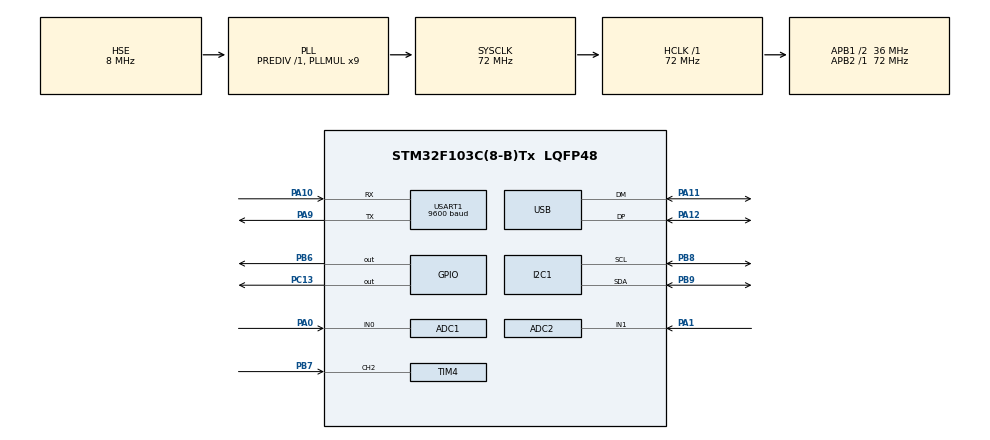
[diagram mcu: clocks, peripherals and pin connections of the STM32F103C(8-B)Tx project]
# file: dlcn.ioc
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ADC1.Channel-0\#ChannelRegularConversion=ADC_CHANNEL_0
ADC1.ContinuousConvMode=ENABLE
ADC1.NbrOfConversionFlag=1
ADC1.Rank-0\#ChannelRegularConversion=1
ADC1.SamplingTime-0\#ChannelRegularConversion=ADC_SAMPLETIME_1CYCLE_5
ADC1.master=1
ADC2.Channel-0\#ChannelRegularConversion=ADC_CHANNEL_1
ADC2.ContinuousConvMode=ENABLE
ADC2.NbrOfConversionFlag=1
ADC2.Rank-0\#ChannelRegularConversion=1
ADC2.SamplingTime-0\#ChannelRegularConversion=ADC_SAMPLETIME_1CYCLE_5
Mcu.Family=STM32F1
Mcu.Name=STM32F103C(8-B)Tx
Mcu.Package=LQFP48
NVIC.PriorityGroup=NVIC_PRIORITYGROUP_4
NVIC.TIM2_IRQn=true\:15\:0\:false\:false\:true\:true\:true\:true
NVIC.USB_LP_CAN1_RX0_IRQn=true\:0\:0\:false\:false\:true\:false\:true\:true
PA0-WKUP.Signal=ADCx_IN0
PA1.Signal=ADCx_IN1
PA10.Mode=Asynchronous
PA10.Signal=USART1_RX
PA11.Mode=Device
PA11.Signal=USB_DM
PA12.Mode=Device
PA12.Signal=USB_DP
PA13.Mode=Serial_Wire
PA13.Signal=SYS_JTMS-SWDIO
PA14.Mode=Serial_Wire
PA14.Signal=SYS_JTCK-SWCLK
PA9.Mode=Asynchronous
PA9.Signal=USART1_TX
PB6.Signal=GPIO_Output
PB7.Signal=S_TIM4_CH2
PB8.Mode=I2C
PB8.Signal=I2C1_SCL
PB9.Mode=I2C
PB9.Signal=I2C1_SDA
PC13-TAMPER-RTC.Signal=GPIO_Output
PD0-OSC_IN.Mode=HSE-External-Oscillator
PD0-OSC_IN.Signal=RCC_OSC_IN
PD1-OSC_OUT.Mode=HSE-External-Oscillator
PD1-OSC_OUT.Signal=RCC_OSC_OUT
ProjectManager.HeapSize=0x200
ProjectManager.StackSize=0x400
ProjectManager.TargetToolchain=STM32CubeIDE
RCC.ADCPresc=RCC_ADCPCLK2_DIV6
RCC.AHBFreq_Value=72000000
RCC.APB1CLKDivider=RCC_HCLK_DIV2
RCC.APB1Freq_Value=36000000
RCC.APB1TimFreq_Value=72000000
RCC.APB2Freq_Value=72000000
RCC.APB2TimFreq_Value=72000000
RCC.HCLKFreq_Value=72000000
RCC.PLLMUL=RCC_PLL_MUL9
RCC.PLLSourceVirtual=RCC_PLLSOURCE_HSE
RCC.SYSCLKFreq_VALUE=72000000
RCC.SYSCLKSource=RCC_SYSCLKSOURCE_PLLCLK
RCC.USBFreq_Value=48000000
RCC.USBPrescaler=RCC_USBCLKSOURCE_PLL_DIV1_5
SH.ADCx_IN0.0=ADC1_IN0,IN0
SH.ADCx_IN1.0=ADC2_IN1,IN1
SH.S_TIM4_CH2.0=TIM4_CH2,Input_Capture2_from_TI2
TIM2.AutoReloadPreload=TIM_AUTORELOAD_PRELOAD_ENABLE
TIM2.Period=99
TIM2.Prescaler=7200-1
TIM4.Channel-Input_Capture2_from_TI2=TIM_CHANNEL_2
USART1.BaudRate=9600
USART1.VirtualMode=VM_ASYNC
USB_DEVICE.APP_RX_DATA_SIZE=64
USB_DEVICE.APP_TX_DATA_SIZE=64
USB_DEVICE.CLASS_NAME_FS=CDC
USB_DEVICE.VirtualMode=Cdc
USB_DEVICE.VirtualModeFS=Cdc_FS
VP_TIM2_VS_ClockSourceINT.Mode=Internal
VP_TIM4_VS_ClockSourceINT.Mode=Internal
VP_USB_DEVICE_VS_USB_DEVICE_CDC_FS.Mode=CDC_FS
board=custom

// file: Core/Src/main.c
/* USER CODE BEGIN Header */
/**
  ******************************************************************************
  * @file           : main.c
  * @brief          : Main program body
  ******************************************************************************
  * @attention
  *
  * Copyright (c) 2026 STMicroelectronics.
  * All rights reserved.
  *
  * This software is licensed under terms that can be found in the LICENSE file
  * in the root directory of this software component.
  * If no LICENSE file comes with this software, it is provided AS-IS.
  *
  ******************************************************************************
  */
/* USER CODE END Header */
#include "main.h"
#include "usb_device.h"

/* USER CODE BEGIN Includes */
#include "usbd_cdc_if.h"
#include <stdio.h>
#include <string.h>
#include <math.h>
/* USER CODE END Includes */

ADC_HandleTypeDef hadc1;
ADC_HandleTypeDef hadc2;

I2C_HandleTypeDef hi2c1;

TIM_HandleTypeDef htim2;
TIM_HandleTypeDef htim4;

UART_HandleTypeDef huart1;

/* USER CODE BEGIN PV */
static volatile uint8_t flag_10ms = 0;
static volatile uint8_t flag_50ms = 0;
static volatile uint8_t flag_100ms = 0;
static volatile uint16_t timer_counter = 0;
/* =========================
   SENSOR DATA STRUCT
   ========================= */
typedef struct
{
    float thermistor_degC;
    float potentiometer_deg;
    float ultrasonic_cm;
    float laser_mm;
} SensorData_t;

static SensorData_t sensor_data;

/* =========================
   ULTRASONIC INPUT CAPTURE
   ========================= */
static volatile uint32_t ultrasonic_rise_tick = 0;
static volatile uint32_t ultrasonic_fall_tick = 0;
static volatile uint32_t ultrasonic_echo_us = 0;
static volatile uint8_t ultrasonic_capture_state = 0;
static volatile uint8_t ultrasonic_data_ready = 0;

/* =========================
   SAMPLE ACCUMULATOR
   Lay mau roi cong don de tinh trung binh
   ========================= */
static float thermistor_sum = 0.0f;
static float potentiometer_sum = 0.0f;
static float laser_sum = 0.0f;
static float ultrasonic_sum = 0.0f;

static uint8_t thermistor_sample_count = 0;
static uint8_t potentiometer_sample_count = 0;
static uint8_t laser_sample_count = 0;
static uint8_t ultrasonic_sample_count = 0;

/* USER CODE END PV */

void SystemClock_Config(void);
static void MX_GPIO_Init(void);
static void MX_ADC1_Init(void);
static void MX_ADC2_Init(void);
static void MX_I2C1_Init(void);
static void MX_TIM2_Init(void);
static void MX_TIM4_Init(void);
static void MX_USART1_UART_Init(void);

/* USER CODE BEGIN 0 */
static uint32_t last_send_time = 0;

// Giả lập data
static int thermistor_x10 = 253;    // 25.3
static int laser_x10 = 105;         // 10.5
static int potentiometer = 45;      // 45 %
static int ultrasonic = 120;        // 120 cm

void Update_Fake_Sensor_Data(void)
{
    thermistor_x10 += 1;     // tăng 0.1
    laser_x10 += 2;          // tăng 0.2
    potentiometer += 1;
    ultrasonic += 1;

    if (thermistor_x10 > 350) thermistor_x10 = 253;
    if (laser_x10 > 300) laser_x10 = 105;
    if (potentiometer > 100) potentiometer = 0;
    if (ultrasonic > 200) ultrasonic = 120;
}

void Send_Sensor_Data_USB(void)
{
    char tx_buffer[128];

    int len = snprintf(tx_buffer, sizeof(tx_buffer),
                       "THERMISTOR:%d.%d;LASER:%d.%d;POTENTIOMETER:%d;ULTRASONIC:%d\r\n",
                       thermistor_x10 / 10,
                       thermistor_x10 % 10,
                       laser_x10 / 10,
                       laser_x10 % 10,
                       potentiometer,
                       ultrasonic);

    if (len > 0)
    {
        CDC_Transmit_FS((uint8_t*)tx_buffer, len);
    }
}

/* =========================
   HAM GIOI HAN GIA TRI
   ========================= */
static float Clamp_Float(float value, float min, float max)
{
    if (value < min) return min;
    if (value > max) return max;
    return value;
}

/* =========================
   DOC ADC DUNG CHUNG
   ========================= */
uint16_t Read_ADC_Value(ADC_HandleTypeDef *hadc)
{
    uint16_t adc_value = 0;

    HAL_ADC_Start(hadc);

    if (HAL_ADC_PollForConversion(hadc, 10) == HAL_OK)
    {
        adc_value = HAL_ADC_GetValue(hadc);
    }

    HAL_ADC_Stop(hadc);

    return adc_value;
}

/* =========================
   1. DOC THERMISTOR
   ADC1 PA0 -> Nhiet do
   ========================= */
float Read_Thermistor_degC(void)
{
    uint16_t adc_raw = Read_ADC_Value(&hadc1);

    const float Vref = 3.3f;
    const float R_fixed = 10000.0f;   // dien tro co dinh 10k
    const float R0 = 10000.0f;        // NTC 10k tai 25 do C
    const float T0 = 298.15f;         // 25 do C = 298.15 K
    const float BETA = 3950.0f;       // he so beta, sau nay sua theo datasheet

    float Vout = adc_raw * Vref / 4095.0f;

    if (Vout <= 0.01f || Vout >= (Vref - 0.01f))
    {
        return -999.0f;
    }

    /*
       Mach gia dinh:
       3.3V --- R_fixed --- ADC --- NTC --- GND

       R_ntc = R_fixed * Vout / (Vref - Vout)
    */
    float R_ntc = R_fixed * Vout / (Vref - Vout);

    /*
       Cong thuc Beta:
       T(K) = 1 / [1/T0 + (1/BETA)*ln(R/R0)]
       T(C) = T(K) - 273.15
    */
    float T_kelvin = 1.0f / ((1.0f / T0) + (1.0f / BETA) * logf(R_ntc / R0));
    float T_celsius = T_kelvin - 273.15f;

    return T_celsius;
}

/* =========================
   2. DOC POTENTIOMETER
   ADC2 PA1 -> Goc 0-300 do
   ========================= */
float Read_Potentiometer_deg(void)
{
    uint16_t adc_raw = Read_ADC_Value(&hadc2);

    const float Vref = 3.3f;

    /*
       Neu mach scale cua ban la 0.1V den 3.1V
       tuong ung goc 0 den 300 do
    */
    const float Vmin = 0.1f;
    const float Vmax = 3.1f;

    float Vout = adc_raw * Vref / 4095.0f;

    Vout = Clamp_Float(Vout, Vmin, Vmax);

    float angle_deg = (Vout - Vmin) * 300.0f / (Vmax - Vmin);

    return angle_deg;
}

/* =========================
   DELAY US DUNG TIM4
   Luu y: TIM4 nen cau hinh Prescaler = 72 - 1 de 1 tick = 1us
   ========================= */
void Delay_us_TIM4(uint16_t us)
{
    __HAL_TIM_SET_COUNTER(&htim4, 0);

    while (__HAL_TIM_GET_COUNTER(&htim4) < us)
    {
        // wait
    }
}

/* =========================
   PHAT XUNG TRIG CHO HC-SR04
   TRIG = PB6
   ECHO = PB7 / TIM4_CH2
   ========================= */
void Ultrasonic_Trigger(void)
{
    ultrasonic_data_ready = 0;
    ultrasonic_capture_state = 0;
    ultrasonic_echo_us = 0;

    __HAL_TIM_SET_COUNTER(&htim4, 0);

    __HAL_TIM_SET_CAPTUREPOLARITY(&htim4, TIM_CHANNEL_2, TIM_INPUTCHANNELPOLARITY_RISING);

    HAL_GPIO_WritePin(GPIOB, GPIO_PIN_6, GPIO_PIN_RESET);
    Delay_us_TIM4(2);

    HAL_GPIO_WritePin(GPIOB, GPIO_PIN_6, GPIO_PIN_SET);
    Delay_us_TIM4(10);

    HAL_GPIO_WritePin(GPIOB, GPIO_PIN_6, GPIO_PIN_RESET);
}

/* =========================
   3. DOC ULTRASONIC
   Echo time -> distance cm
   ========================= */
float Read_Ultrasonic_cm(float tempC)
{
    Ultrasonic_Trigger();

    /*
       Cho echo toi da khoang 30ms.
       Neu qua 30ms ma khong co data thi bao loi.
    */
    uint32_t start_tick = HAL_GetTick();

    while (!ultrasonic_data_ready)
    {
        if (HAL_GetTick() - start_tick > 30)
        {
            return -1.0f;
        }
    }

    /*
       v = 331.4 + 0.6*T  m/s
       doi sang cm/us: chia 10000
    */
    float speed_cm_us = (331.4f + 0.6f * tempC) / 10000.0f;

    /*
       Song di va ve nen chia 2
    */
    float distance_cm = ultrasonic_echo_us * speed_cm_us / 2.0f;

    /*
       Calib tuyen tinh:
       distance_calib = a * distance_read + b
       Sau nay thay a,b bang gia tri calib that.
    */
    const float a = 1.0f;
    const float b = 0.0f;

    float distance_calib = a * distance_cm + b;

    return distance_calib;
}

/* =========================
   4. DOC LASER VL53L0X
   Luu y: VL53L0X can driver rieng.
   Ham nay hien tai moi kiem tra co cam bien I2C hay chua.
   ========================= */
float Read_Laser_VL53L0X_mm(void)
{
    /*
       Dia chi mac dinh cua VL53L0X thuong la 0x29.
       HAL can dia chi dich trai 1 bit.
    */
    uint16_t VL53L0X_ADDR = 0x29 << 1;

    if (HAL_I2C_IsDeviceReady(&hi2c1, VL53L0X_ADDR, 2, 10) != HAL_OK)
    {
        return -1.0f;   // khong tim thay cam bien
    }

    /*
       VL53L0X khong the doc khoang cach chi bang 1 lenh I2C don gian.
       Can them driver khoi tao va ham ranging.

       Sau khi co driver, thay phan nay bang:
       D_read_mm = VL53L0X_ReadRange();
    */

    float D_read_mm = 0.0f;

    /*
       Calib tuyen tinh:
       D_calib = a * D_read + b
    */
    const float a = 1.0f;
    const float b = 0.0f;

    float D_calib_mm = a * D_read_mm + b;

    return D_calib_mm;
}

/* =========================
   GUI DU LIEU 4 CAM BIEN DA XU LY
   USB CDC
   ========================= */
void Send_Real_Sensor_Data_USB(void)
{
    char tx_buffer[160];

    int len = snprintf(tx_buffer, sizeof(tx_buffer),
                       "THERMISTOR:%.1f;POTENTIOMETER:%.1f;ULTRASONIC:%.1f;LASER:%.1f\r\n",
                       sensor_data.thermistor_degC,
                       sensor_data.potentiometer_deg,
                       sensor_data.ultrasonic_cm,
                       sensor_data.laser_mm);

    if (len > 0)
    {
        CDC_Transmit_FS((uint8_t*)tx_buffer, len);
    }
}

/* =========================
   RESET BO DEM MAU
   Goi sau khi da tinh trung binh va gui USB
   ========================= */
void Reset_Sensor_Sample_Buffer(void)
{
    thermistor_sum = 0.0f;
    potentiometer_sum = 0.0f;
    laser_sum = 0.0f;
    ultrasonic_sum = 0.0f;

    thermistor_sample_count = 0;
    potentiometer_sample_count = 0;
    laser_sample_count = 0;
    ultrasonic_sample_count = 0;
}

/* =========================
   TASK 10ms
   Moi 10ms lay 1 mau:
   - Thermistor
   - Potentiometer
   - Laser
   ========================= */
void Sensor_Task_10ms(void)
{
    float thermistor_value = Read_Thermistor_degC();

    if (thermistor_value > -100.0f)
    {
        thermistor_sum += thermistor_value;
        thermistor_sample_count++;
    }

    float potentiometer_value = Read_Potentiometer_deg();

    potentiometer_sum += potentiometer_value;
    potentiometer_sample_count++;

    float laser_value = Read_Laser_VL53L0X_mm();

    if (laser_value >= 0.0f)
    {
        laser_sum += laser_value;
        laser_sample_count++;
    }
}

/* =========================
   TASK 50ms
   Moi 50ms lay 1 mau ultrasonic
   ========================= */
void Sensor_Task_50ms(void)
{
    /*
       Dung nhiet do gan nhat de bu van toc am thanh.
       Neu chua co mau thermistor hop le thi tam dung 25 do C.
    */
    float tempC = 25.0f;

    if (thermistor_sample_count > 0)
    {
        tempC = thermistor_sum / thermistor_sample_count;
    }

    float ultrasonic_value = Read_Ultrasonic_cm(tempC);

    if (ultrasonic_value > 0.0f)
    {
        ultrasonic_sum += ultrasonic_value;
        ultrasonic_sample_count++;
    }
}

/* =========================
   TINH TRUNG BINH CAC MAU
   Goi truoc khi gui USB
   ========================= */
void Sensor_Compute_Average(void)
{
    if (thermistor_sample_count > 0)
    {
        sensor_data.thermistor_degC =
            thermistor_sum / thermistor_sample_count;
    }
    else
    {
        sensor_data.thermistor_degC = -999.0f;
    }

    if (potentiometer_sample_count > 0)
    {
        sensor_data.potentiometer_deg =
            potentiometer_sum / potentiometer_sample_count;
    }
    else
    {
        sensor_data.potentiometer_deg = -1.0f;
    }

    if (laser_sample_count > 0)
    {
        sensor_data.laser_mm =
            laser_sum / laser_sample_count;
    }
    else
    {
        sensor_data.laser_mm = -1.0f;
    }

    if (ultrasonic_sample_count > 0)
    {
        sensor_data.ultrasonic_cm =
            ultrasonic_sum / ultrasonic_sample_count;
    }
    else
    {
        sensor_data.ultrasonic_cm = -1.0f;
    }
}

/* USER CODE END 0 */

int main(void)
{

  /* MCU Configuration--------------------------------------------------------*/

  /* Reset of all peripherals, Initializes the Flash interface and the Systick. */
  HAL_Init();

  /* Configure the system clock */
  SystemClock_Config();

  /* Initialize all configured peripherals */
  MX_GPIO_Init();
  MX_ADC1_Init();
  MX_ADC2_Init();
  MX_I2C1_Init();
  MX_TIM2_Init();
  MX_TIM4_Init();
  MX_USB_DEVICE_Init();
  MX_USART1_UART_Init();
  /* USER CODE BEGIN 2 */
  HAL_TIM_IC_Start_IT(&htim4, TIM_CHANNEL_2);
  HAL_TIM_Base_Start_IT(&htim2);
  /* USER CODE END 2 */

  /* Infinite loop */
  /* USER CODE BEGIN WHILE */
  while (1)
  {
	  /*
	        flag_10ms:
	        Moi 10ms lay 1 mau thermistor, potentiometer, laser.
	     */
	     if (flag_10ms)
	     {
	         flag_10ms = 0;

	         Sensor_Task_10ms();
	     }

	     /*
	        flag_50ms:
	        Moi 50ms lay 1 mau ultrasonic.
	     */
	     if (flag_50ms)
	     {
	         flag_50ms = 0;

	         Sensor_Task_50ms();
	     }

	     /*
	        flag_100ms:
	        Moi 100ms tinh trung binh va gui USB.
	     */
	     if (flag_100ms)
	     {
	         flag_100ms = 0;

	         Sensor_Compute_Average();
	         Send_Real_Sensor_Data_USB();

	         Reset_Sensor_Sample_Buffer();
	     }

    /* USER CODE END WHILE */

  }
}

void SystemClock_Config(void)
{
  RCC_OscInitTypeDef RCC_OscInitStruct = {0};
  RCC_ClkInitTypeDef RCC_ClkInitStruct = {0};
  RCC_PeriphCLKInitTypeDef PeriphClkInit = {0};

  /** Initializes the RCC Oscillators according to the specified parameters
  * in the RCC_OscInitTypeDef structure.
  */
  RCC_OscInitStruct.OscillatorType = RCC_OSCILLATORTYPE_HSE;
  RCC_OscInitStruct.HSEState = RCC_HSE_ON;
  RCC_OscInitStruct.HSEPredivValue = RCC_HSE_PREDIV_DIV1;
  RCC_OscInitStruct.HSIState = RCC_HSI_ON;
  RCC_OscInitStruct.PLL.PLLState = RCC_PLL_ON;
  RCC_OscInitStruct.PLL.PLLSource = RCC_PLLSOURCE_HSE;
  RCC_OscInitStruct.PLL.PLLMUL = RCC_PLL_MUL9;
  if (HAL_RCC_OscConfig(&RCC_OscInitStruct) != HAL_OK)
  {
    Error_Handler();
  }

  /** Initializes the CPU, AHB and APB buses clocks
  */
  RCC_ClkInitStruct.ClockType = RCC_CLOCKTYPE_HCLK|RCC_CLOCKTYPE_SYSCLK
                              |RCC_CLOCKTYPE_PCLK1|RCC_CLOCKTYPE_PCLK2;
  RCC_ClkInitStruct.SYSCLKSource = RCC_SYSCLKSOURCE_PLLCLK;
  RCC_ClkInitStruct.AHBCLKDivider = RCC_SYSCLK_DIV1;
  RCC_ClkInitStruct.APB1CLKDivider = RCC_HCLK_DIV2;
  RCC_ClkInitStruct.APB2CLKDivider = RCC_HCLK_DIV1;

  if (HAL_RCC_ClockConfig(&RCC_ClkInitStruct, FLASH_LATENCY_2) != HAL_OK)
  {
    Error_Handler();
  }
  PeriphClkInit.PeriphClockSelection = RCC_PERIPHCLK_ADC|RCC_PERIPHCLK_USB;
  PeriphClkInit.AdcClockSelection = RCC_ADCPCLK2_DIV6;
  PeriphClkInit.UsbClockSelection = RCC_USBCLKSOURCE_PLL_DIV1_5;
  if (HAL_RCCEx_PeriphCLKConfig(&PeriphClkInit) != HAL_OK)
  {
    Error_Handler();
  }
}

static void MX_ADC1_Init(void)
{

  ADC_ChannelConfTypeDef sConfig = {0};

  /** Common config
  */
  hadc1.Instance = ADC1;
  hadc1.Init.ScanConvMode = ADC_SCAN_DISABLE;
  hadc1.Init.ContinuousConvMode = ENABLE;
  hadc1.Init.DiscontinuousConvMode = DISABLE;
  hadc1.Init.ExternalTrigConv = ADC_SOFTWARE_START;
  hadc1.Init.DataAlign = ADC_DATAALIGN_RIGHT;
  hadc1.Init.NbrOfConversion = 1;
  if (HAL_ADC_Init(&hadc1) != HAL_OK)
  {
    Error_Handler();
  }

  /** Configure Regular Channel
  */
  sConfig.Channel = ADC_CHANNEL_0;
  sConfig.Rank = ADC_REGULAR_RANK_1;
  sConfig.SamplingTime = ADC_SAMPLETIME_1CYCLE_5;
  if (HAL_ADC_ConfigChannel(&hadc1, &sConfig) != HAL_OK)
  {
    Error_Handler();
  }

}

static void MX_ADC2_Init(void)
{

  ADC_ChannelConfTypeDef sConfig = {0};

  /** Common config
  */
  hadc2.Instance = ADC2;
  hadc2.Init.ScanConvMode = ADC_SCAN_DISABLE;
  hadc2.Init.ContinuousConvMode = ENABLE;
  hadc2.Init.DiscontinuousConvMode = DISABLE;
  hadc2.Init.ExternalTrigConv = ADC_SOFTWARE_START;
  hadc2.Init.DataAlign = ADC_DATAALIGN_RIGHT;
  hadc2.Init.NbrOfConversion = 1;
  if (HAL_ADC_Init(&hadc2) != HAL_OK)
  {
    Error_Handler();
  }

  /** Configure Regular Channel
  */
  sConfig.Channel = ADC_CHANNEL_1;
  sConfig.Rank = ADC_REGULAR_RANK_1;
  sConfig.SamplingTime = ADC_SAMPLETIME_1CYCLE_5;
  if (HAL_ADC_ConfigChannel(&hadc2, &sConfig) != HAL_OK)
  {
    Error_Handler();
  }

}

static void MX_I2C1_Init(void)
{

  hi2c1.Instance = I2C1;
  hi2c1.Init.ClockSpeed = 100000;
  hi2c1.Init.DutyCycle = I2C_DUTYCYCLE_2;
  hi2c1.Init.OwnAddress1 = 0;
  hi2c1.Init.AddressingMode = I2C_ADDRESSINGMODE_7BIT;
  hi2c1.Init.DualAddressMode = I2C_DUALADDRESS_DISABLE;
  hi2c1.Init.OwnAddress2 = 0;
  hi2c1.Init.GeneralCallMode = I2C_GENERALCALL_DISABLE;
  hi2c1.Init.NoStretchMode = I2C_NOSTRETCH_DISABLE;
  if (HAL_I2C_Init(&hi2c1) != HAL_OK)
  {
    Error_Handler();
  }

}

static void MX_TIM2_Init(void)
{

  TIM_ClockConfigTypeDef sClockSourceConfig = {0};
  TIM_MasterConfigTypeDef sMasterConfig = {0};

  htim2.Instance = TIM2;
  htim2.Init.Prescaler = 7200-1;
  htim2.Init.CounterMode = TIM_COUNTERMODE_UP;
  htim2.Init.Period = 99;
  htim2.Init.ClockDivision = TIM_CLOCKDIVISION_DIV1;
  htim2.Init.AutoReloadPreload = TIM_AUTORELOAD_PRELOAD_ENABLE;
  if (HAL_TIM_Base_Init(&htim2) != HAL_OK)
  {
    Error_Handler();
  }
  sClockSourceConfig.ClockSource = TIM_CLOCKSOURCE_INTERNAL;
  if (HAL_TIM_ConfigClockSource(&htim2, &sClockSourceConfig) != HAL_OK)
  {
    Error_Handler();
  }
  sMasterConfig.MasterOutputTrigger = TIM_TRGO_RESET;
  sMasterConfig.MasterSlaveMode = TIM_MASTERSLAVEMODE_DISABLE;
  if (HAL_TIMEx_MasterConfigSynchronization(&htim2, &sMasterConfig) != HAL_OK)
  {
    Error_Handler();
  }

}

static void MX_TIM4_Init(void)
{

  TIM_ClockConfigTypeDef sClockSourceConfig = {0};
  TIM_MasterConfigTypeDef sMasterConfig = {0};
  TIM_IC_InitTypeDef sConfigIC = {0};

  htim4.Instance = TIM4;
  htim4.Init.Prescaler = 0;
  htim4.Init.CounterMode = TIM_COUNTERMODE_UP;
  htim4.Init.Period = 65535;
  htim4.Init.ClockDivision = TIM_CLOCKDIVISION_DIV1;
  htim4.Init.AutoReloadPreload = TIM_AUTORELOAD_PRELOAD_DISABLE;
  if (HAL_TIM_Base_Init(&htim4) != HAL_OK)
  {
    Error_Handler();
  }
  sClockSourceConfig.ClockSource = TIM_CLOCKSOURCE_INTERNAL;
  if (HAL_TIM_ConfigClockSource(&htim4, &sClockSourceConfig) != HAL_OK)
  {
    Error_Handler();
  }
  if (HAL_TIM_IC_Init(&htim4) != HAL_OK)
  {
    Error_Handler();
  }
  sMasterConfig.MasterOutputTrigger = TIM_TRGO_RESET;
  sMasterConfig.MasterSlaveMode = TIM_MASTERSLAVEMODE_DISABLE;
  if (HAL_TIMEx_MasterConfigSynchronization(&htim4, &sMasterConfig) != HAL_OK)
  {
    Error_Handler();
  }
  sConfigIC.ICPolarity = TIM_INPUTCHANNELPOLARITY_RISING;
  sConfigIC.ICSelection = TIM_ICSELECTION_DIRECTTI;
  sConfigIC.ICPrescaler = TIM_ICPSC_DIV1;
  sConfigIC.ICFilter = 0;
  if (HAL_TIM_IC_ConfigChannel(&htim4, &sConfigIC, TIM_CHANNEL_2) != HAL_OK)
  {
    Error_Handler();
  }

}

static void MX_USART1_UART_Init(void)
{

  huart1.Instance = USART1;
  huart1.Init.BaudRate = 9600;
  huart1.Init.WordLength = UART_WORDLENGTH_8B;
  huart1.Init.StopBits = UART_STOPBITS_1;
  huart1.Init.Parity = UART_PARITY_NONE;
  huart1.Init.Mode = UART_MODE_TX_RX;
  huart1.Init.HwFlowCtl = UART_HWCONTROL_NONE;
  huart1.Init.OverSampling = UART_OVERSAMPLING_16;
  if (HAL_UART_Init(&huart1) != HAL_OK)
  {
    Error_Handler();
  }

}

static void MX_GPIO_Init(void)
{
  GPIO_InitTypeDef GPIO_InitStruct = {0};

  /* GPIO Ports Clock Enable */
  __HAL_RCC_GPIOC_CLK_ENABLE();
  __HAL_RCC_GPIOD_CLK_ENABLE();
  __HAL_RCC_GPIOA_CLK_ENABLE();
  __HAL_RCC_GPIOB_CLK_ENABLE();

  /*Configure GPIO pin Output Level */
  HAL_GPIO_WritePin(GPIOC, GPIO_PIN_13, GPIO_PIN_RESET);

  /*Configure GPIO pin Output Level */
  HAL_GPIO_WritePin(GPIOB, GPIO_PIN_6, GPIO_PIN_RESET);

  /*Configure GPIO pin : PC13 */
  GPIO_InitStruct.Pin = GPIO_PIN_13;
  GPIO_InitStruct.Mode = GPIO_MODE_OUTPUT_PP;
  GPIO_InitStruct.Pull = GPIO_NOPULL;
  GPIO_InitStruct.Speed = GPIO_SPEED_FREQ_LOW;
  HAL_GPIO_Init(GPIOC, &GPIO_InitStruct);

  /*Configure GPIO pin : PB6 */
  GPIO_InitStruct.Pin = GPIO_PIN_6;
  GPIO_InitStruct.Mode = GPIO_MODE_OUTPUT_PP;
  GPIO_InitStruct.Pull = GPIO_NOPULL;
  GPIO_InitStruct.Speed = GPIO_SPEED_FREQ_LOW;
  HAL_GPIO_Init(GPIOB, &GPIO_InitStruct);

}

/* USER CODE BEGIN 4 */
void HAL_TIM_PeriodElapsedCallback(TIM_HandleTypeDef *htim)
{
    if (htim->Instance == TIM2)
    {
        /*
           TIM2 ngắt mỗi 10ms.
           Mỗi lần ngắt tăng counter.
        */
        timer_counter++;
        /*
           Task 10ms:
           Mỗi lần ngắt đều bật flag_10ms.
        */
        flag_10ms = 1;
        /*
           Task 50ms:
           5 lần ngắt x 10ms = 50ms.
        */
        if (timer_counter % 5 == 0)
        {
            flag_50ms = 1;
        }

        /*
           Task 100ms:
           10 lần ngắt x 10ms = 100ms.
        */
        if (timer_counter % 10 == 0)
        {
            flag_100ms = 1;
        }

        /*
           Reset counter để tránh tăng mãi.
           100 lần ngắt x 10ms = 1000ms = 1s.
        */
        if (timer_counter >= 100)
        {
            timer_counter = 0;
        }
    }
}

void HAL_TIM_IC_CaptureCallback(TIM_HandleTypeDef *htim)
{
    if (htim->Instance == TIM4 && htim->Channel == HAL_TIM_ACTIVE_CHANNEL_2)
    {
        if (ultrasonic_capture_state == 0)
        {
            /*
               Bat canh len cua Echo
            */
            ultrasonic_rise_tick = HAL_TIM_ReadCapturedValue(htim, TIM_CHANNEL_2);

            __HAL_TIM_SET_CAPTUREPOLARITY(htim, TIM_CHANNEL_2, TIM_INPUTCHANNELPOLARITY_FALLING);

            ultrasonic_capture_state = 1;
        }
        else
        {
            /*
               Bat canh xuong cua Echo
            */
            ultrasonic_fall_tick = HAL_TIM_ReadCapturedValue(htim, TIM_CHANNEL_2);

            if (ultrasonic_fall_tick >= ultrasonic_rise_tick)
            {
                ultrasonic_echo_us = ultrasonic_fall_tick - ultrasonic_rise_tick;
            }
            else
            {
                ultrasonic_echo_us = (65535 - ultrasonic_rise_tick) + ultrasonic_fall_tick + 1;
            }

            __HAL_TIM_SET_CAPTUREPOLARITY(htim, TIM_CHANNEL_2, TIM_INPUTCHANNELPOLARITY_RISING);

            ultrasonic_capture_state = 0;
            ultrasonic_data_ready = 1;
        }
    }
}
/* USER CODE END 4 */

void Error_Handler(void)
{
  __disable_irq();
  while (1)
  {
  }
}
